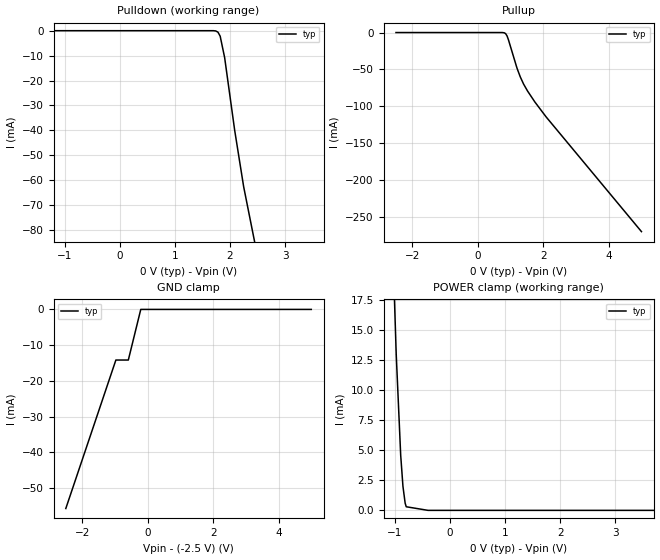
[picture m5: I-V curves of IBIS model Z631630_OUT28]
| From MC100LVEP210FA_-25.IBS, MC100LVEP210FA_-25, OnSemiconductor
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| (C) COPYRIGHT 1993-2000
| MENTOR GRAPHICS CORPORATION
| ICX STANDARD LIBRARY, ICX PROJECT MODELING,
| ICX CUSTOM MODELING, ICX VENDOR MODEL
| ALL RIGHTS RESERVED.
| THE FOLLOWING ARE TRADEMARKS OR SERVICE MARKS OF
| MENTOR GRAPHICS CORPORATION:ICX (R), ICX STANDARD
| LIBRARY(R), ICX PROJECT MODELING(R), ICX CUSTOM
| MODELING(R), qualityIBIS(TM), MODELVIEWER(TM),
| AND MODELEDITOR(TM)
| ALL COPIES OF SOFTWARE, INCLUDING BUT NOT LIMITED TO
| ANY MODIFICATIONS, ENHANCEMENTS OR DERIVATIVE WORKS,
| MUST CONTAIN ALL MENTOR GRAPHICS CORPORATION'S
| NOTICES AND LEGENDS, INCLUDING THOSE EMBEDDED IN
| SOFTWARE AND THOSE AFFIXED TO SOFTWARE MEDIUM
| AND CONTAINER, AS RECEIVED FROM MENTOR GRAPHICS
| CORPORATION.
| Model Application Version 1.89 2/18/99.
[Model] Z631630_OUT28
Model_type Output_ECL
Vref=-2.000V
Rref=50.00ohms
Cref=0.000F
Vmeas=-1.400V
C_comp 1.000pF NA NA
| variable typ   min   max
[Voltage Range] -2.500V NA NA
[POWER Clamp Reference] 0.000V NA NA
[Pullup Reference] 0.000V NA NA
[Pulldown Reference] 0.000V NA NA
[GND Clamp Reference] -2.500V NA NA
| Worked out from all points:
|   POWER clamp passes 1 mA (typ) near -0.82 V on its own axis
[GND Clamp]
-2.5V     -55.74mA   NA         NA
-970.2mV  -14.17mA   NA         NA
-589.8mV  -14.17mA   NA         NA
-209.5mV  0A         NA         NA
5V        0A         NA         NA
[Pulldown]
-2.5V     0A         NA         NA
1.703V    0A         NA         NA
1.743V    -100uA     NA         NA
1.784V    -600uA     NA         NA
1.824V    -2.2mA     NA         NA
1.905V    -10.8mA    NA         NA
2.088V    -40.1mA    NA         NA
2.25V     -62.6mA    NA         NA
5V        -368.2mA   NA         NA
[Pullup]
-2.5V     0A         NA         NA
750mV     0A         NA         NA
851mV     -1.6mA     NA         NA
892mV     -4.5mA     NA         NA
932mV     -9.3mA     NA         NA
1.196V    -48.1mA    NA         NA
1.297V    -60.1mA    NA         NA
1.399V    -69.9mA    NA         NA
1.52V     -79.3mA    NA         NA
1.743V    -94.1mA    NA         NA
2.088V    -114.4mA   NA         NA
5V        -269.8mA   NA         NA
[POWER Clamp]
-2.5V     271.1mA    NA         NA
-1.095V   30.4mA     NA         NA
-973mV    13mA       NA         NA
-892mV    4.6mA      NA         NA
-851mV    2mA        NA         NA
-811mV    600uA      NA         NA
-791mV    300uA      NA         NA
-395.5mV  0A         NA         NA
5V        0A         NA         NA
[Ramp]
| variable typ min max
dV/dt_r 498.1m/151.3p NA NA
dV/dt_f 498.1m/150.8p NA NA
R_load = 50.00Ohms
